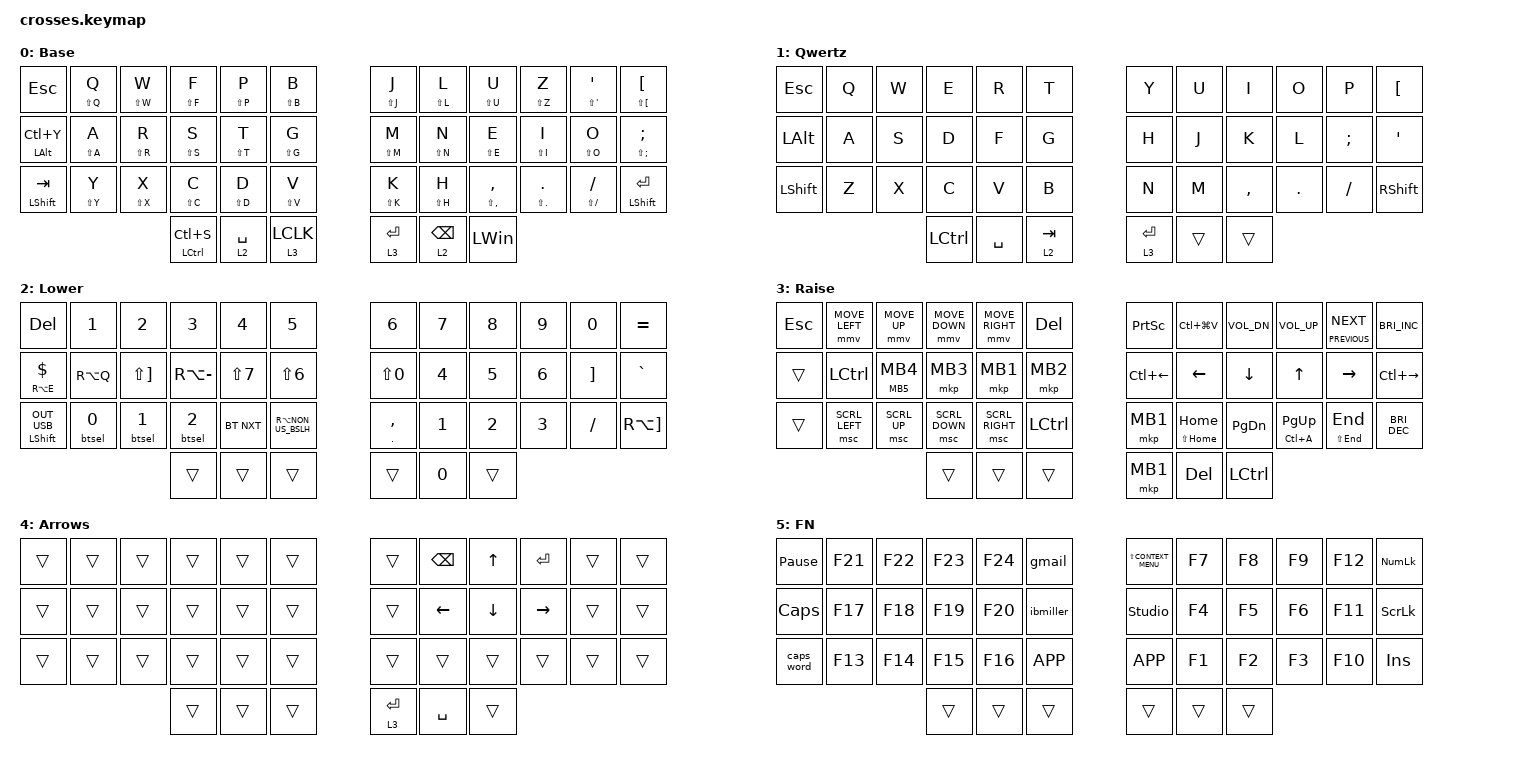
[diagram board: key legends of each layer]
#include <scroll-snap.dtsi>
#include <input/processors.dtsi>
#include <behaviors.dtsi>
#include <dt-bindings/zmk/bt.h>
#include <dt-bindings/zmk/keys.h>
#include <dt-bindings/zmk/outputs.h>
#include <dt-bindings/zmk/pointing.h>

/ {
    chosen { zmk,physical-layout = &gggw_crosses_42_layout; };

    behaviors {
        hml: homerow_mods_left {
            compatible = "zmk,behavior-hold-tap";
            label = "HOMEROW_MODS_LEFT_HAND";
            bindings = <&kp>, <&kp>;

            #binding-cells = <2>;
            tapping-term-ms = <200>;
            hold-trigger-key-positions = <6 7 8 9 10 11 18 19 20 21 22 23 30 31 32 33 34 35 40 41 39>;
        };

        hmr: homerow_mods_right {
            compatible = "zmk,behavior-hold-tap";
            label = "HOMEROW_MODS_RIGHT_HAND";
            bindings = <&kp>, <&kp>;

            #binding-cells = <2>;
            tapping-term-ms = <200>;
            hold-trigger-key-positions = <0 1 2 3 4 5 12 13 14 15 16 17 24 25 26 27 28 29 36 37 38>;
        };

        layer_or_Mouse: layer_or_Mouse {
            compatible = "zmk,behavior-hold-tap";
            label = "LAYER_OR_MOUSE";
            bindings = <&mo>, <&mkp>;

            #binding-cells = <2>;
            tapping-term-ms = <200>;
        };

        as: as {
            compatible = "zmk,behavior-hold-tap";
            label = "AUTO_SHIFT";
            #binding-cells = <2>;
            tapping-term-ms = <180>;
            quick-tap-ms = <200>;
            flavor = "tap-preferred";
            bindings = <&kp>, <&kp>;
        };

        long_ENTER: long_ENTER {
            compatible = "zmk,behavior-hold-tap";
            label = "LONG_ENTER";
            bindings = <&mo>, <&kp>;

            #binding-cells = <2>;
            tapping-term-ms = <200>;
            flavor = "tap-unless-interrupted";
        };

        ht_mouse: ht_mouse {
            compatible = "zmk,behavior-hold-tap";
            label = "HT_MOUSE";
            #binding-cells = <2>;
            tapping-term-ms = <200>;
            bindings = <&mkp>, <&mkp>;

            flavor = "tap-preferred";
        };

        out_kp_ht: out_kp_ht {
            compatible = "zmk,behavior-hold-tap";
            label = "OUT_KP_HT";
            #binding-cells = <2>;
            tapping-term-ms = <200>;
            bindings = <&kp>, <&out>;

            flavor = "tap-preferred";
        };
    };

    combos {
        compatible = "zmk,combos";

        To_Base {
            bindings = <&to_PC_base>;
            key-positions = <14 15 16>;
        };

        Qwertz {
            bindings = <&to 1>;
            key-positions = <2 4 3>;
        };

        Tog_Sym {
            bindings = <&tog 2>;
            key-positions = <39 41>;
        };

        Tog_Nav {
            bindings = <&tog 3>;
            key-positions = <38 36>;
            layers = <0 2 3 5>;
        };

        None4 {
            bindings = <&tog 5>;
            key-positions = <38 39>;
        };

        Mo_Config {
            bindings = <&mo 5>;
            key-positions = <37 38>;
        };

        Win_Nav {
            bindings = <&navigation_win>;
            key-positions = <40 39>;
            layers = <0 1>;
        };

        Tog_arrows {
            bindings = <&tog 4>;
            key-positions = <8 19 20 21>;
        };

        ble_out {
            bindings = <&out OUT_BLE>;
            key-positions = <26 27 28>;
        };

        BT0 {
            bindings = <&bt BT_SEL 0>;
            key-positions = <1 13 25>;
            layers = <0 1>;
        };

        BT1 {
            bindings = <&bt BT_SEL 1>;
            key-positions = <2 14 26>;
            layers = <0 1>;
        };

        BT2 {
            bindings = <&bt BT_SEL 2>;
            key-positions = <3 15 27>;
            layers = <0 1>;
        };

        BT3 {
            bindings = <&bt BT_SEL 3>;
            key-positions = <4 16 28>;
            layers = <0 1>;
        };

        BT4 {
            bindings = <&bt BT_SEL 4>;
            key-positions = <5 17 29>;
            layers = <0 1>;
        };

        BT_CLEAR {
            bindings = <&bt BT_CLR>;
            key-positions = <0 24 12>;
            layers = <0 1>;
        };

        None1 {
            bindings = <&none>;
            key-positions = <4 5 16 17 28 29>;
            layers = <0 1>;
        };

        None2 {
            bindings = <&none>;
            key-positions = <0 1 12 13 24 25>;
            layers = <0 1>;
        };

        altgr {
            bindings = <&sk RIGHT_ALT>;
            key-positions = <41 36>;
        };

        Caps_word {
            bindings = <&caps_word>;
            key-positions = <24 35>;
            layers = <0 1>;
        };

        Cut {
            bindings = <&kp LC(X)>;
            key-positions = <26 27>;
            layers = <0 1>;
        };

        Copy {
            bindings = <&kp LC(C)>;
            key-positions = <27 28>;
            layers = <0 1>;
        };

        Paste {
            bindings = <&kp LC(V)>;
            key-positions = <28 29>;
            layers = <0 1>;
        };

        play_pause {
            bindings = <&kp C_PP>;
            key-positions = <40 39 41>;
            layers = <0 1>;
        };

        skip_song {
            bindings = <&kp C_NEXT>;
            key-positions = <37 38 36>;
            layers = <0 1>;
        };

        Move_Screenwise {
            bindings = <&kp LS(LG(RIGHT))>;
            key-positions = <16 17>;
            layers = <0 1>;
        };

        bs_word {
            bindings = <&kp LC(BACKSPACE)>;
            key-positions = <19 20 21>;
            layers = <0 1>;
        };

        Move_screnwiseLeft {
            bindings = <&kp LS(LG(LEFT))>;
            key-positions = <18 19>;
            layers = <0 1>;
        };

        del_word {
            bindings = <&kp LC(DEL)>;
            key-positions = <20 21 22>;
            layers = <0 1>;
        };

        del {
            bindings = <&kp DEL>;
            key-positions = <28 26>;
            layers = <2 3 4 5>;
        };

        enter {
            bindings = <&kp ENTER>;
            key-positions = <32 33>;
        };

        space {
            bindings = <&kp SPACE>;
            key-positions = <31 32 33>;
        };

        left_spike {
            bindings = <&kp NON_US_BSLH>;
            key-positions = <13 25>;
        };

        left_bracet {
            bindings = <&kp RA(N8)>;
            key-positions = <14 26>;
            layers = <0 1>;
        };

        left_brace {
            bindings = <&kp RA(N7)>;
            key-positions = <15 27>;
            layers = <0 1>;
        };

        left_paren {
            bindings = <&kp LS(N8)>;
            key-positions = <16 28>;
            layers = <0 1>;
        };

        right_paren {
            bindings = <&kp LS(N9)>;
            key-positions = <19 31>;
            layers = <0 1>;
        };

        right_brace {
            bindings = <&kp RA(N0)>;
            key-positions = <20 32>;
            layers = <0 1>;
        };

        right_bracet {
            bindings = <&kp RA(N9)>;
            key-positions = <21 33>;
            layers = <0 1>;
        };

        right_spike {
            bindings = <&kp LS(NON_US_BSLH)>;
            key-positions = <22 34>;
            layers = <0 1>;
        };

        backtick {
            bindings = <&BackTick>;
            key-positions = <5 17>;
            layers = <0 1>;
        };

        tick {
            bindings = <&kp LS(NON_US_HASH)>;
            key-positions = <1 13>;
            layers = <0 1>;
        };

        doubletick {
            bindings = <&kp LS(NUMBER_2)>;
            key-positions = <2 14>;
            layers = <0 1>;
        };

        hat {
            bindings = <&Hat>;
            key-positions = <4 16>;
            layers = <0 1>;
        };

        hash {
            bindings = <&kp NON_US_HASH>;
            key-positions = <17 29>;
            layers = <0 1>;
        };

        exclamation {
            bindings = <&kp LS(NUMBER_1)>;
            key-positions = <7 19>;
            layers = <0 1 2 3>;
        };

        questionmark {
            bindings = <&kp LS(MINUS)>;
            key-positions = <6 18>;
            layers = <0 1 2 3>;
        };

        sharps {
            bindings = <&kp MINUS>;
            key-positions = <15 3>;
            layers = <0 1>;
        };

        e {
            bindings = <&kp E>;
            key-positions = <2 3>;
            layers = <0>;
        };

        n {
            bindings = <&kp N>;
            key-positions = <4 5>;
            layers = <0 1>;
        };

        m {
            bindings = <&kp M>;
            key-positions = <0 1>;
            layers = <0 1>;
        };

        o {
            bindings = <&kp O>;
            key-positions = <3 4>;
            layers = <0 1>;
        };

        ue {
            bindings = <&as LS(LEFT_BRACKET) LEFT_BRACKET>;
            key-positions = <8 20>;
        };

        oe {
            bindings = <&as LS(SEMICOLON) SEMICOLON>;
            key-positions = <22 20>;
        };

        backspace_combo {
            bindings = <&kp BSPC>;
            key-positions = <40 41>;
        };

        dobbleclick {
            bindings = <&doubleklick>;
            key-positions = <15 16>;
            layers = <3>;
        };
    };

    macros {
        navigation_win: navigation_win {
            compatible = "zmk,behavior-macro";
            #binding-cells = <0>;
            bindings =
                <&macro_press>,
                <&kp LEFT_WIN &mo 3>,
                <&macro_pause_for_release>,
                <&macro_release>,
                <&mo 3 &kp LEFT_WIN>;

            label = "NAVIGATION_WIN";
        };

        gmail: gmail {
            compatible = "zmk,behavior-macro";
            #binding-cells = <0>;
            bindings = <&kp F &kp L &kp A &kp V &kp I &kp O &kp DOT &kp R &kp I &kp E &kp D &kp RA(Q) &kp G &kp M &kp A &kp I &kp L &kp DOT &kp C &kp O &kp M>;
            label = "gmail";
            wait-ms = <25>;
            tap-ms = <10>;
        };

        BackTick: BackTick {
            compatible = "zmk,behavior-macro";
            #binding-cells = <0>;
            bindings = <&kp LS(EQUAL) &kp SPACE>;
            label = "BACKTICK";
        };

        Hat: Hat {
            compatible = "zmk,behavior-macro";
            #binding-cells = <0>;
            bindings = <&kp GRAVE &kp SPACE>;
            label = "HAT";
        };

        ibmiller: ibmiller {
            compatible = "zmk,behavior-macro";
            #binding-cells = <0>;
            bindings = <&kp F &kp L &kp A &kp V &kp I &kp O &kp DOT &kp R &kp I &kp E &kp D &kp M &kp U &kp E &kp L &kp L &kp E &kp R &kp RA(Q) &kp I &kp B &kp M &kp I &kp L &kp L &kp E &kp R &kp DOT &kp D &kp E>;
            label = "IBMILLER";
            wait-ms = <25>;
            tap-ms = <5>;
        };

        doubleklick: doubleklick {
            compatible = "zmk,behavior-macro";
            #binding-cells = <0>;
            bindings = <&mkp MB1 &mkp MB1>;
            label = "DOUBLEKLICK";
            wait-ms = <25>;
            tap-ms = <10>;
        };

        btsel: btsel {
            compatible = "zmk,behavior-macro-one-param";
            #binding-cells = <1>;
            bindings = <&out OUT_BLE &macro_param_1to2 &bt BT_SEL MACRO_PLACEHOLDER>;
            label = "BTSEL";
        };

        to_PC_base: to_PC_base {
            compatible = "zmk,behavior-macro";
            #binding-cells = <0>;
            bindings = <&out OUT_USB &to 0>;
            label = "TO_PC_BASE";
        };
    };

    keymap {
        compatible = "zmk,keymap";

        colemak_dh {
            bindings = <
&kp ESCAPE          &as LS(Q) Q  &as LS(W) W  &as LS(F) F             &as LS(P) P  &as LS(B) B             &as LS(J) J  &as LS(L) L      &as LS(U) U          &as LS(Z) Z      &as LS(SINGLE_QUOTE) SINGLE_QUOTE  &as LS(LEFT_BRACKET) LEFT_BRACKET
&mt LEFT_ALT LC(Y)  &as LS(A) A  &as LS(R) R  &as LS(S) S             &as LS(T) T  &as LS(G) G             &as LS(M) M  &as LS(N) N      &as LS(E) E          &as LS(I) I      &as LS(O) O                        &as LS(SEMICOLON) SEMICOLON
&mt LEFT_SHIFT TAB  &as LS(Y) Y  &as LS(X) X  &as LS(C) C             &as LS(D) D  &as LS(V) V             &as LS(K) K  &as LS(H) H      &as LS(COMMA) COMMA  &as LS(DOT) DOT  &as LS(SLASH) SLASH                &mt LSHIFT ENTER
                                              &mt LEFT_CONTROL LC(S)  &lt 2 SPACE  &layer_or_Mouse 3 LCLK  &lt 3 ENTER  &lt 2 BACKSPACE  &kp LEFT_WIN
            >;

            label = "Base";
        };

        qwertz {
            display-name = "Qwertz";
            bindings = <
&kp ESC       &kp Q  &kp W  &kp E      &kp R      &kp T      &kp Y                &kp U   &kp I      &kp O    &kp P      &kp LEFT_BRACKET
&kp LEFT_ALT  &kp A  &kp S  &kp D      &kp F      &kp G      &kp H                &kp J   &kp K      &kp L    &kp SEMI   &kp SINGLE_QUOTE
&kp LSHFT     &kp Z  &kp X  &kp C      &kp V      &kp B      &kp N                &kp M   &kp COMMA  &kp DOT  &kp SLASH  &kp RSHFT
                            &kp LCTRL  &kp SPACE  &lt 2 TAB  &long_ENTER 3 ENTER  &trans  &trans
            >;

            label = "game";
        };

        lower_layer {
            display-name = "Lower";
            bindings = <
&kp DELETE                     &kp NUMBER_1  &kp NUMBER_2           &kp NUMBER_3   &kp NUMBER_4  &kp N5               &kp NUMBER_6   &kp N7        &kp N8        &kp N9        &kp N0             &kp EQUAL
&mt RA(E) DOLLAR               &kp RA(Q)     &kp LS(RIGHT_BRACKET)  &kp RA(MINUS)  &kp LS(N7)    &kp LS(NUMBER_6)     &kp LS(N0)     &kp NUMBER_4  &kp NUMBER_5  &kp NUMBER_6  &kp RIGHT_BRACKET  &kp GRAVE
&out_kp_ht LEFT_SHIFT OUT_USB  &btsel 0      &btsel 1               &btsel 2       &bt BT_NXT    &kp RA(NON_US_BSLH)  &mt DOT COMMA  &kp N1        &kp N2        &kp N3        &kp SLASH          &kp RA(RIGHT_BRACKET)
                                                                    &trans         &trans        &trans               &trans         &kp N0        &trans
            >;

            label = "num";
        };

        mouse_layer {
            display-name = "Raise";
            bindings = <
&kp ESC  &mmv MOVE_LEFT  &mmv MOVE_UP       &mmv MOVE_DOWN  &mmv MOVE_RIGHT  &kp DEL    &kp PRINTSCREEN  &kp LC(LG(V))      &kp C_VOL_DN  &kp C_VOL_UP     &mt C_PREVIOUS C_NEXT  &kp C_BRIGHTNESS_INC
&trans   &kp LCTRL       &ht_mouse MB5 MB4  &mkp MB3        &mkp MB1         &mkp MB2   &kp LC(LEFT)     &kp LEFT_ARROW     &kp DOWN      &kp UP_ARROW     &kp RIGHT              &kp LC(RIGHT)
&trans   &msc SCRL_LEFT  &msc SCRL_UP       &msc SCRL_DOWN  &msc SCRL_RIGHT  &kp LCTRL  &mkp MB1         &mt LS(HOME) HOME  &kp PG_DN     &mt LC(A) PG_UP  &mt LS(END) END        &kp C_BRI_DEC
                                            &trans          &trans           &trans     &mkp MB1         &kp DELETE         &kp LCTRL
            >;

            label = "navigation";
        };

        Arrows {
            display-name = "Arrows";
            bindings = <
&trans  &trans  &trans  &trans  &trans  &trans  &trans               &kp BACKSPACE  &kp UP_ARROW    &kp ENTER  &trans  &trans
&trans  &trans  &trans  &trans  &trans  &trans  &trans               &kp LEFT       &kp DOWN_ARROW  &kp RIGHT  &trans  &trans
&trans  &trans  &trans  &trans  &trans  &trans  &trans               &trans         &trans          &trans     &trans  &trans
                        &trans  &trans  &trans  &long_ENTER 3 ENTER  &kp SPACE      &trans
            >;

            label = "arrows";
        };

        CONFIG {
            display-name = "FN";
            bindings = <
&kp PAUSE_BREAK  &kp F21  &kp F22  &kp F23  &kp F24  &gmail     &kp LS(K_CONTEXT_MENU)  &kp F7  &kp F8  &kp F9  &kp F12  &kp KP_NUMLOCK
&kp CAPS         &kp F17  &kp F18  &kp F19  &kp F20  &ibmiller  &studio_unlock          &kp F4  &kp F5  &kp F6  &kp F11  &kp SCROLLLOCK
&caps_word       &kp F13  &kp F14  &kp F15  &kp F16  &kp K_APP  &kp K_APP               &kp F1  &kp F2  &kp F3  &kp F10  &kp INS
                                   &trans   &trans   &trans     &trans                  &trans  &trans
            >;

            label = "config";
        };
    };

    conditional_layers {
        compatible = "zmk,conditional-layers";

        low+high {
            if-layers = <2 3>;
            then-layer = <5>;
        };
    };
};
